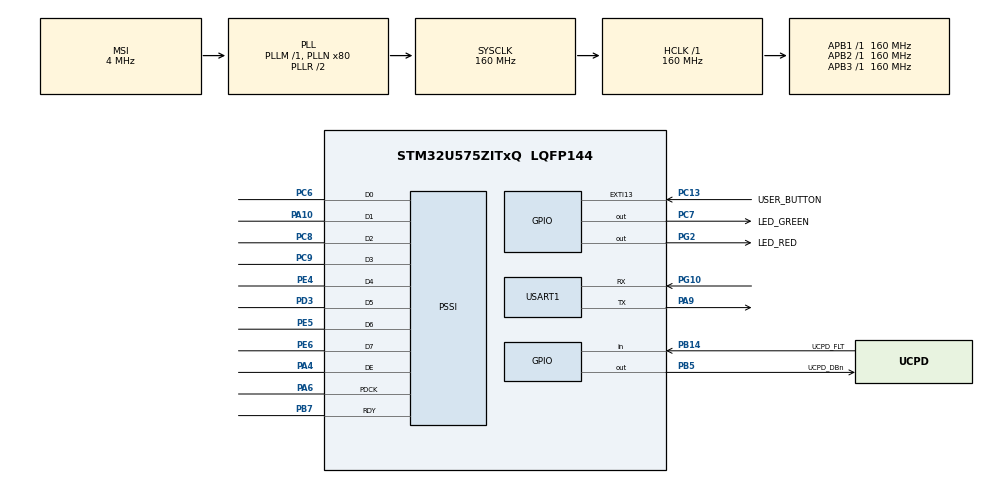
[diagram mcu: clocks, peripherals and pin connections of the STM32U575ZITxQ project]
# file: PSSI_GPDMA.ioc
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CORTEX_M33_NS.userName=CORTEX_M33
GPDMA1.LINKALLOCATEDPORT_GPDMACH12=DMA_LINK_ALLOCATED_PORT1
GPDMA1.LINKALLOCATEDPORT_GPDMACH13=DMA_LINK_ALLOCATED_PORT1
GPDMA1.LINKEDLISTMODE_GPDMACH12=DMA_LINKEDLIST_CIRCULAR
GPDMA1.LINKEDLISTMODE_GPDMACH13=DMA_LINKEDLIST_CIRCULAR
GPDMA1.TRANSFEREVENTMODE_LL_GPDMACH12=DMA_TCEM_EACH_LL_ITEM_TRANSFER
GPDMA1.TRANSFEREVENTMODE_LL_GPDMACH13=DMA_TCEM_EACH_LL_ITEM_TRANSFER
Linkedlist.MDMA_Channel0.GP_SW.0.ADDRESSING2D=ENABLE
Linkedlist.MDMA_Channel0.GP_SW.0.BlkDestAddrOffset=0
Linkedlist.MDMA_Channel0.GP_SW.0.BlkHWRequest=DMA_BREQ_SINGLE_BURST
Linkedlist.MDMA_Channel0.GP_SW.0.BlkSrcAddrOffset=0
Linkedlist.MDMA_Channel0.GP_SW.0.DataHandling=NONE
Linkedlist.MDMA_Channel0.GP_SW.0.DataSize=0
Linkedlist.MDMA_Channel0.GP_SW.0.DestAddrOffset=0
Linkedlist.MDMA_Channel0.GP_SW.0.DestBurstLength=1
Linkedlist.MDMA_Channel0.GP_SW.0.DestDataWidth=DMA_DEST_DATAWIDTH_WORD
Linkedlist.MDMA_Channel0.GP_SW.0.DestInc=DMA_DINC_INCREMENTED
Linkedlist.MDMA_Channel0.GP_SW.0.Direction=DMA_PERIPH_TO_MEMORY
Linkedlist.MDMA_Channel0.GP_SW.0.DstAddress=0
Linkedlist.MDMA_Channel0.GP_SW.0.Instance=MDMA_Channel0
Linkedlist.MDMA_Channel0.GP_SW.0.LL_CIRCULARNODE=PSSIRXNode1
Linkedlist.MDMA_Channel0.GP_SW.0.LL_MASTERDMA=GPDMA2D
Linkedlist.MDMA_Channel0.GP_SW.0.LL_NAME=PSSIRXQueue
Linkedlist.MDMA_Channel0.GP_SW.0.LL_TYPE=CIRCULAR
Linkedlist.MDMA_Channel0.GP_SW.0.NODE_NAME=PSSIRXNode1
Linkedlist.MDMA_Channel0.GP_SW.0.RepeatCount=1
Linkedlist.MDMA_Channel0.GP_SW.0.Requestforcodegen=GPDMA1_REQUEST_DCMI
Linkedlist.MDMA_Channel0.GP_SW.0.SrcAddrOffset=0
Linkedlist.MDMA_Channel0.GP_SW.0.SrcAddress=0
Linkedlist.MDMA_Channel0.GP_SW.0.SrcBurstLength=1
Linkedlist.MDMA_Channel0.GP_SW.0.SrcDataWidth=DMA_SRC_DATAWIDTH_WORD
Linkedlist.MDMA_Channel0.GP_SW.0.SrcInc=DMA_SINC_FIXED
Linkedlist.MDMA_Channel0.GP_SW.0.TransferAllocatedPortSrc=DMA_SRC_ALLOCATED_PORT0
Linkedlist.MDMA_Channel0.GP_SW.0.TransferEventMode=DMA_TCEM_BLOCK_TRANSFER
Linkedlist.MDMA_Channel0.GP_SW.0.TriggerPolarity=DMA_TRIG_POLARITY_MASKED
Linkedlist.MDMA_Channel0.GP_SW.1.ADDRESSING2D=ENABLE
Linkedlist.MDMA_Channel0.GP_SW.1.BlkDestAddrOffset=0
Linkedlist.MDMA_Channel0.GP_SW.1.BlkHWRequest=DMA_BREQ_SINGLE_BURST
Linkedlist.MDMA_Channel0.GP_SW.1.BlkSrcAddrOffset=0
Linkedlist.MDMA_Channel0.GP_SW.1.DataHandling=NONE
Linkedlist.MDMA_Channel0.GP_SW.1.DataSize=0
Linkedlist.MDMA_Channel0.GP_SW.1.DestAddrOffset=0
Linkedlist.MDMA_Channel0.GP_SW.1.DestBurstLength=1
Linkedlist.MDMA_Channel0.GP_SW.1.DestDataWidth=DMA_DEST_DATAWIDTH_WORD
Linkedlist.MDMA_Channel0.GP_SW.1.DestInc=DMA_DINC_INCREMENTED
Linkedlist.MDMA_Channel0.GP_SW.1.Direction=DMA_PERIPH_TO_MEMORY
Linkedlist.MDMA_Channel0.GP_SW.1.DstAddress=0
Linkedlist.MDMA_Channel0.GP_SW.1.Instance=MDMA_Channel0
Linkedlist.MDMA_Channel0.GP_SW.1.LL_CIRCULARNODE=PSSIRXNode1
Linkedlist.MDMA_Channel0.GP_SW.1.LL_MASTERDMA=GPDMA2D
Linkedlist.MDMA_Channel0.GP_SW.1.LL_NAME=PSSIRXQueue
Linkedlist.MDMA_Channel0.GP_SW.1.LL_TYPE=CIRCULAR
Linkedlist.MDMA_Channel0.GP_SW.1.NODE_NAME=PSSIRXNode2
Linkedlist.MDMA_Channel0.GP_SW.1.RepeatCount=1
Linkedlist.MDMA_Channel0.GP_SW.1.Requestforcodegen=GPDMA1_REQUEST_DCMI
Linkedlist.MDMA_Channel0.GP_SW.1.SrcAddrOffset=0
Linkedlist.MDMA_Channel0.GP_SW.1.SrcAddress=0
Linkedlist.MDMA_Channel0.GP_SW.1.SrcBurstLength=1
Linkedlist.MDMA_Channel0.GP_SW.1.SrcDataWidth=DMA_SRC_DATAWIDTH_WORD
Linkedlist.MDMA_Channel0.GP_SW.1.SrcInc=DMA_SINC_FIXED
Linkedlist.MDMA_Channel0.GP_SW.1.TransferAllocatedPortSrc=DMA_SRC_ALLOCATED_PORT0
Linkedlist.MDMA_Channel0.GP_SW.1.TransferEventMode=DMA_TCEM_BLOCK_TRANSFER
Linkedlist.MDMA_Channel0.GP_SW.1.TriggerPolarity=DMA_TRIG_POLARITY_MASKED
Linkedlist.MDMA_Channel0.Request0=GP_SW
Linkedlist.MDMA_Channel0.Request1=GP_SW
Linkedlist.MDMA_Channel0.RequestsNb=2
Linkedlist.MDMA_Channel1.GP_SW.0.ADDRESSING2D=ENABLE
Linkedlist.MDMA_Channel1.GP_SW.0.BlkDestAddrOffset=0
Linkedlist.MDMA_Channel1.GP_SW.0.BlkHWRequest=DMA_BREQ_SINGLE_BURST
Linkedlist.MDMA_Channel1.GP_SW.0.BlkSrcAddrOffset=0
Linkedlist.MDMA_Channel1.GP_SW.0.DataHandling=NONE
Linkedlist.MDMA_Channel1.GP_SW.0.DataSize=0
Linkedlist.MDMA_Channel1.GP_SW.0.DestAddrOffset=0
Linkedlist.MDMA_Channel1.GP_SW.0.DestBurstLength=1
Linkedlist.MDMA_Channel1.GP_SW.0.DestDataWidth=DMA_DEST_DATAWIDTH_WORD
Linkedlist.MDMA_Channel1.GP_SW.0.DestInc=DMA_DINC_INCREMENTED
Linkedlist.MDMA_Channel1.GP_SW.0.Direction=DMA_PERIPH_TO_MEMORY
Linkedlist.MDMA_Channel1.GP_SW.0.DstAddress=0
Linkedlist.MDMA_Channel1.GP_SW.0.Instance=MDMA_Channel1
Linkedlist.MDMA_Channel1.GP_SW.0.LL_CIRCULARNODE=PSSITXNode1
Linkedlist.MDMA_Channel1.GP_SW.0.LL_MASTERDMA=GPDMA2D
Linkedlist.MDMA_Channel1.GP_SW.0.LL_NAME=PSSITXQueue
Linkedlist.MDMA_Channel1.GP_SW.0.LL_TYPE=CIRCULAR
Linkedlist.MDMA_Channel1.GP_SW.0.NODE_NAME=PSSITXNode1
Linkedlist.MDMA_Channel1.GP_SW.0.RepeatCount=1
Linkedlist.MDMA_Channel1.GP_SW.0.Requestforcodegen=GPDMA1_REQUEST_DCMI
Linkedlist.MDMA_Channel1.GP_SW.0.SrcAddrOffset=0
Linkedlist.MDMA_Channel1.GP_SW.0.SrcAddress=0
Linkedlist.MDMA_Channel1.GP_SW.0.SrcBurstLength=1
Linkedlist.MDMA_Channel1.GP_SW.0.SrcDataWidth=DMA_SRC_DATAWIDTH_WORD
Linkedlist.MDMA_Channel1.GP_SW.0.SrcInc=DMA_SINC_FIXED
Linkedlist.MDMA_Channel1.GP_SW.0.TransferAllocatedPortSrc=DMA_SRC_ALLOCATED_PORT0
Linkedlist.MDMA_Channel1.GP_SW.0.TransferEventMode=DMA_TCEM_BLOCK_TRANSFER
Linkedlist.MDMA_Channel1.GP_SW.0.TriggerPolarity=DMA_TRIG_POLARITY_MASKED
Linkedlist.MDMA_Channel1.GP_SW.1.ADDRESSING2D=ENABLE
Linkedlist.MDMA_Channel1.GP_SW.1.BlkDestAddrOffset=0
Linkedlist.MDMA_Channel1.GP_SW.1.BlkHWRequest=DMA_BREQ_SINGLE_BURST
Linkedlist.MDMA_Channel1.GP_SW.1.BlkSrcAddrOffset=0
Linkedlist.MDMA_Channel1.GP_SW.1.DataHandling=NONE
Linkedlist.MDMA_Channel1.GP_SW.1.DataSize=0
Linkedlist.MDMA_Channel1.GP_SW.1.DestAddrOffset=0
Linkedlist.MDMA_Channel1.GP_SW.1.DestBurstLength=1
Linkedlist.MDMA_Channel1.GP_SW.1.DestDataWidth=DMA_DEST_DATAWIDTH_WORD
Linkedlist.MDMA_Channel1.GP_SW.1.DestInc=DMA_DINC_INCREMENTED
Linkedlist.MDMA_Channel1.GP_SW.1.Direction=DMA_PERIPH_TO_MEMORY
Linkedlist.MDMA_Channel1.GP_SW.1.DstAddress=0
Linkedlist.MDMA_Channel1.GP_SW.1.Instance=MDMA_Channel1
Linkedlist.MDMA_Channel1.GP_SW.1.LL_CIRCULARNODE=PSSITXNode1
Linkedlist.MDMA_Channel1.GP_SW.1.LL_MASTERDMA=GPDMA2D
Linkedlist.MDMA_Channel1.GP_SW.1.LL_NAME=PSSITXQueue
Linkedlist.MDMA_Channel1.GP_SW.1.LL_TYPE=CIRCULAR
Linkedlist.MDMA_Channel1.GP_SW.1.NODE_NAME=PSSITXNode2
Linkedlist.MDMA_Channel1.GP_SW.1.RepeatCount=1
Linkedlist.MDMA_Channel1.GP_SW.1.Requestforcodegen=GPDMA1_REQUEST_DCMI
Linkedlist.MDMA_Channel1.GP_SW.1.SrcAddrOffset=0
Linkedlist.MDMA_Channel1.GP_SW.1.SrcAddress=0
Linkedlist.MDMA_Channel1.GP_SW.1.SrcBurstLength=1
Linkedlist.MDMA_Channel1.GP_SW.1.SrcDataWidth=DMA_SRC_DATAWIDTH_WORD
Linkedlist.MDMA_Channel1.GP_SW.1.SrcInc=DMA_SINC_FIXED
Linkedlist.MDMA_Channel1.GP_SW.1.TransferAllocatedPortSrc=DMA_SRC_ALLOCATED_PORT0
Linkedlist.MDMA_Channel1.GP_SW.1.TransferEventMode=DMA_TCEM_BLOCK_TRANSFER
Linkedlist.MDMA_Channel1.GP_SW.1.TriggerPolarity=DMA_TRIG_POLARITY_MASKED
Linkedlist.MDMA_Channel1.Request0=GP_SW
Linkedlist.MDMA_Channel1.Request1=GP_SW
Linkedlist.MDMA_Channel1.RequestsNb=2
Linkedlist.RequestSet0=MDMA_Channel0
Linkedlist.RequestSet1=MDMA_Channel1
Linkedlist.RequestSetsNb=2
Mcu.Family=STM32U5
Mcu.Name=STM32U575ZITxQ
Mcu.Package=LQFP144
NVIC.DCMI_PSSI_IRQn=true\:0\:0\:false\:false\:true\:true\:true\:true
NVIC.GPDMA1_Channel12_IRQn=true\:0\:0\:false\:false\:true\:true\:true\:true
NVIC.GPDMA1_Channel13_IRQn=true\:0\:0\:false\:false\:true\:true\:true\:true
NVIC.ICACHE_IRQn=true\:0\:0\:false\:false\:true\:true\:true\:true
NVIC.PriorityGroup=NVIC_PRIORITYGROUP_3
PA10.Mode=PSSI_8
PA10.Signal=PSSI_D1
PA11.Signal=USB_OTG_FS_DM
PA12.Signal=USB_OTG_FS_DP
PA13\ (JTMS/SWDIO).Mode=Trace_Asynchronous_SW
PA13\ (JTMS/SWDIO).Signal=DEBUG_JTMS-SWDIO
PA14\ (JTCK/SWCLK).Mode=Trace_Asynchronous_SW
PA14\ (JTCK/SWCLK).Signal=DEBUG_JTCK-SWCLK
PA15\ (JTDI).Signal=UCPD1_CC1
PA2.Signal=USART2_TX
PA3.Signal=USART2_RX
PA4.Mode=PSSI_8
PA4.Signal=PSSI_DE
PA6.Mode=PSSI_8
PA6.Signal=PSSI_PDCK
PA9.Mode=Asynchronous
PA9.Signal=USART1_TX
PB14.GPIO_Label=UCPD_FLT
PB14.Signal=GPIO_Input
PB15.Signal=UCPD1_CC2
PB3\ (JTDO/TRACESWO).Mode=Trace_Asynchronous_SW
PB3\ (JTDO/TRACESWO).Signal=DEBUG_JTDO-SWO
PB5.GPIO_Label=UCPD_DBn
PB5.Signal=GPIO_Output
PB7.Mode=PSSI_8
PB7.Signal=PSSI_RDY
PC13.GPIO_Label=USER_BUTTON
PC13.Signal=GPXTI13
PC14-OSC32_IN\ (PC14).Signal=RCC_OSC32_IN
PC15-OSC32_OUT\ (PC15).Signal=RCC_OSC32_OUT
PC2.GPIO_Label=VBUS_SENSE
PC2.Signal=ADC1_IN3
PC6.Mode=PSSI_8
PC6.Signal=PSSI_D0
PC7.GPIO_Label=LED_GREEN
PC7.Signal=GPIO_Output
PC8.Mode=PSSI_8
PC8.Signal=PSSI_D2
PC9.Mode=PSSI_8
PC9.Signal=PSSI_D3
PD3.Mode=PSSI_8
PD3.Signal=PSSI_D5
PE4.Mode=PSSI_8
PE4.Signal=PSSI_D4
PE5.Mode=PSSI_8
PE5.Signal=PSSI_D6
PE6.Mode=PSSI_8
PE6.Signal=PSSI_D7
PG10.Mode=Asynchronous
PG10.Signal=USART1_RX
PG2.GPIO_Label=LED_RED
PG2.Signal=GPIO_Output
PSSI.BusWidth=HAL_PSSI_8LINES
PSSI.ControlSignal=HAL_PSSI_DE_RDY_ALT_ENABLE
PSSI.DataWidth=HAL_PSSI_32BITS
PWR.PowerMode=PWR_SMPS_SUPPLY
ProjectManager.HeapSize=0x200
ProjectManager.StackSize=0x400
ProjectManager.TargetToolchain=STM32CubeIDE
RCC.ADCFreq_Value=16000000
RCC.AHBFreq_Value=160000000
RCC.APB1Freq_Value=160000000
RCC.APB1TimFreq_Value=160000000
RCC.APB2Freq_Value=160000000
RCC.APB2TimFreq_Value=160000000
RCC.APB3Freq_Value=160000000
RCC.CortexFreq_Value=160000000
RCC.DACCLockSelectionVirtual=RCC_DAC1CLKSOURCE_LSI
RCC.EPOD_VALUE=4000000
RCC.HCLKFreq_Value=160000000
RCC.HSE_VALUE=16000000
RCC.HSI48_VALUE=48000000
RCC.HSI_VALUE=16000000
RCC.LSE_VALUE=32768
RCC.LSIDIV_VALUE=32000
RCC.MSI_VALUE=4000000
RCC.PLL2FRACN=0
RCC.PLL3FRACN=0
RCC.PLLFRACN=0
RCC.PLLN=80
RCC.SYSCLKFreq_VALUE=160000000
RCC.SYSCLKSource=RCC_SYSCLKSOURCE_PLLCLK
RCC.USBFreq_Value=48000000
RCC.VCOOutputFreq_Value=320000000
USART1.VirtualMode-Asynchronous=VM_ASYNC
VP_GPDMA1_VS_GPDMACH12.Mode=LINKEDLIST_GPDMACH12
VP_GPDMA1_VS_GPDMACH13.Mode=LINKEDLIST_GPDMACH13
VP_ICACHE_VS_ICACHE.Mode=DirectMappedCache
VP_LPBAMQUEUE_VS_QUEUE.Mode=QUEUEMODE
VP_LPBAM_VS_SIG1.Mode=SmartRun
VP_LPBAM_VS_SIG4.Mode=LPDMA1
VP_PWR_VS_DBSignals.Mode=DisableDeadBatterySignals
VP_PWR_VS_LPOM.Mode=PowerOptimisation
VP_PWR_VS_SECSignals.Mode=Security/Privilege
board=NUCLEO-U575ZI-Q

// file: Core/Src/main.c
/* USER CODE BEGIN Header */
/**
  ******************************************************************************
  * @file           : main.c
  * @brief          : Main program body
  ******************************************************************************
  * @attention
  *
  * Copyright (c) 2023 STMicroelectronics.
  * All rights reserved.
  *
  * This software is licensed under terms that can be found in the LICENSE file
  * in the root directory of this software component.
  * If no LICENSE file comes with this software, it is provided AS-IS.
  *
  ******************************************************************************
  */
/* USER CODE END Header */
#include "main.h"

/* USER CODE BEGIN Includes */
#include "stdio.h"
#include <stdlib.h>
#include "string.h"
/* USER CODE END Includes */

/* USER CODE BEGIN PTD */
TIM_HandleTypeDef    htim;
TIM_OC_InitTypeDef   sConfig; /* Timer Output Compare Configuration Structure declaration */
//#define MASTER_BOARD
#define  TIMx                TIM1
#define  PERIOD_VALUE       (uint32_t)(1000 - 1)              /* Period Value             */
#define  PULSE1_VALUE       (uint32_t)(PERIOD_VALUE/2)        /* Capture Compare 1 Value  */

/* USER CODE END PTD */

/* USER CODE BEGIN PM */
uint32_t uhPrescalerValue = 0;
uint32_t Request_received = 0 ;
uint32_t data_cmp = 0 ;
uint32_t i;
uint32_t PSSI_HAL_PSSI_TransmitComplete_count = 0;
uint32_t PSSI_HAL_PSSI_ReceiveComplete_count = 0;
uint32_t PSSI_HAL_PSSI_ErrorCallback_count = 0;

#ifndef MASTER_BOARD
//ALIGN_32BYTES (char     pData8_S_TRSMT[64] ="Hello from Slave");  /* Data to transmit from Slave */
#define ALIGN_32BYTES __attribute__((aligned(32)))
char pData8_S_TRSMT[64] ALIGN_32BYTES = "Hello from Slave";
ALIGN_32BYTES char pData8_S_RCV[64];
#else
ALIGN_32BYTES (char     pData8_M_RCV[64]);
ALIGN_32BYTES (char     pData8_M_TRSMT[64]); /* Data to transmit from Master */
#endif
/* USER CODE END PM */

DMA_HandleTypeDef handle_GPDMA1_Channel13;
DMA_HandleTypeDef handle_GPDMA1_Channel12;

PSSI_HandleTypeDef hpssi;

UART_HandleTypeDef huart1;

/* USER CODE BEGIN PV */
extern DMA_QListTypeDef  PSSITXQueue;
extern DMA_QListTypeDef  PSSIRXQueue;
/* USER CODE END PV */

void SystemClock_Config(void);
static void SystemPower_Config(void);
static void MX_GPIO_Init(void);
static void MX_GPDMA1_Init(void);
static void MX_ICACHE_Init(void);
static void MX_PSSI_Init(void);
static void MX_USART1_UART_Init(void);
/* USER CODE BEGIN PFP */
#ifdef MASTER_BOARD
static void Timer_Config(TIM_HandleTypeDef *htim);
static void CLK_On(void);
static void CLK_Off(void);
static uint32_t Fetch_Slave_Request(char Received_Buffer[64]);
#endif /*MASTER_BOARD*/
#define PUTCHAR_PROTOTYPE int __io_putchar(int ch)
/* USER CODE END PFP */

/* USER CODE BEGIN 0 */
int _write(int file, char *ptr, int len) {
  HAL_UART_Transmit(&huart1, (uint8_t*) ptr, len, HAL_MAX_DELAY);
  return len;
}
/* USER CODE END 0 */

int main(void)
{

  /* MCU Configuration--------------------------------------------------------*/

  /* Reset of all peripherals, Initializes the Flash interface and the Systick. */
  HAL_Init();

  /* Configure the system clock */
  SystemClock_Config();

  /* Configure the System Power */
  SystemPower_Config();

  /* USER CODE BEGIN SysInit */
  MX_PSSIRXQueue_Config();
  MX_PSSITXQueue_Config();
  /* USER CODE END SysInit */

  /* Initialize all configured peripherals */
  MX_GPIO_Init();
  MX_GPDMA1_Init();
  MX_ICACHE_Init();
  MX_PSSI_Init();
  MX_USART1_UART_Init();
  /* USER CODE BEGIN 2 */
  HAL_DMAEx_List_LinkQ(&handle_GPDMA1_Channel13, &PSSITXQueue);
  __HAL_LINKDMA(&hpssi, hdmatx, handle_GPDMA1_Channel13);
  HAL_DMAEx_List_LinkQ(&handle_GPDMA1_Channel12, &PSSIRXQueue);
  __HAL_LINKDMA(&hpssi, hdmarx, handle_GPDMA1_Channel12);

#ifdef MASTER_BOARD
  printf("Hello this is the master board \n\r");
   HAL_Delay(500);
  /* Configure Tim to generate the clock for PSSI slave */
  Timer_Config(&htim) ;

  while(1)
  {
    CLK_On();

    while(Request_received != 1)
    {

      if(HAL_PSSI_Receive_DMA(&hpssi, (uint32_t*)pData8_M_RCV , sizeof(pData8_M_RCV)/4)!= HAL_OK)
      {
        Error_Handler();
      }

      while(PSSI_HAL_PSSI_ReceiveComplete_count !=1)
      {
        /* wait until receiving data is complete */
      }

      if(Fetch_Slave_Request(pData8_M_RCV) == 1)
      {
        Request_received = 1;
      }

      PSSI_HAL_PSSI_ReceiveComplete_count = 0 ;
    }

    /* Start transmitting the received & modified data */
    if(HAL_PSSI_Transmit_DMA(&hpssi, (uint32_t*)pData8_M_TRSMT, sizeof(pData8_M_TRSMT)/4)!= HAL_OK)
    {
      Error_Handler();
    }

    HAL_Delay(2);

    while(PSSI_HAL_PSSI_TransmitComplete_count != 1)
    {
      /* wait until transmit data is complete */
    }

    printf("Transmission completed\n\r");
    HAL_Delay(200);

    HAL_Delay(20);

    /* Transmit done */
    Request_received = 0 ;

    PSSI_HAL_PSSI_TransmitComplete_count = 0 ;

    CLK_Off();

    /*Wait 1s before the next loop*/
    HAL_Delay(1000);

  }
#else
  /*PSSI slave Part*/
  printf("Hello this is the slave board \n\r");
    HAL_Delay(500);
  /* Start transmitting the data */
  if(HAL_PSSI_Transmit_DMA(&hpssi, (uint32_t*)(pData8_S_TRSMT), sizeof(pData8_S_TRSMT))!= HAL_OK)
  {
    Error_Handler();
  }

  while(PSSI_HAL_PSSI_TransmitComplete_count != 1)
  {
    /* wait until transmit data is complete */
  }

  HAL_Delay(2);
  /* Start receiving the data */
  if(HAL_PSSI_Receive_DMA(&hpssi, (uint32_t*)(pData8_S_RCV), sizeof(pData8_S_RCV)/4)!= HAL_OK)
  {
    Error_Handler();
  }

  while(PSSI_HAL_PSSI_ReceiveComplete_count != 1)
  {
    /* wait until receiving data is complete */
  }

  /*********************************************************************************************/

  /* Check first that the transmitted data is received */
  for(i = 0; i < strlen(pData8_S_TRSMT) ;i++)
  {
    if(pData8_S_TRSMT[i] != pData8_S_RCV[i])
    {
      data_cmp++;
	  break;
    }
  }

  /*if OK , check then, that the Master has modified the transmitted data*/
  if((data_cmp == 0) && (strstr(pData8_S_RCV," Master") != 0))
  { /* Infinite loop */
    while (1)
    {
    	printf("data has been modified\n\r");
    	printf("%s\n\r",pData8_S_RCV);
    	HAL_Delay(1000);
    }
  }
  else /*KO*/
  {
    Error_Handler();
  }

#endif /*MASTER_BOARD*/
  /* USER CODE END 2 */

  /* Infinite loop */
  while (1)
  {

  }
}

void SystemClock_Config(void)
{
  RCC_OscInitTypeDef RCC_OscInitStruct = {0};
  RCC_ClkInitTypeDef RCC_ClkInitStruct = {0};

  /** Configure the main internal regulator output voltage
  */
  if (HAL_PWREx_ControlVoltageScaling(PWR_REGULATOR_VOLTAGE_SCALE1) != HAL_OK)
  {
    Error_Handler();
  }

  /** Initializes the CPU, AHB and APB buses clocks
  */
  RCC_OscInitStruct.OscillatorType = RCC_OSCILLATORTYPE_MSI;
  RCC_OscInitStruct.MSIState = RCC_MSI_ON;
  RCC_OscInitStruct.MSICalibrationValue = RCC_MSICALIBRATION_DEFAULT;
  RCC_OscInitStruct.MSIClockRange = RCC_MSIRANGE_4;
  RCC_OscInitStruct.PLL.PLLState = RCC_PLL_ON;
  RCC_OscInitStruct.PLL.PLLSource = RCC_PLLSOURCE_MSI;
  RCC_OscInitStruct.PLL.PLLMBOOST = RCC_PLLMBOOST_DIV1;
  RCC_OscInitStruct.PLL.PLLM = 1;
  RCC_OscInitStruct.PLL.PLLN = 80;
  RCC_OscInitStruct.PLL.PLLP = 2;
  RCC_OscInitStruct.PLL.PLLQ = 2;
  RCC_OscInitStruct.PLL.PLLR = 2;
  RCC_OscInitStruct.PLL.PLLRGE = RCC_PLLVCIRANGE_0;
  RCC_OscInitStruct.PLL.PLLFRACN = 0;
  if (HAL_RCC_OscConfig(&RCC_OscInitStruct) != HAL_OK)
  {
    Error_Handler();
  }

  /** Initializes the CPU, AHB and APB buses clocks
  */
  RCC_ClkInitStruct.ClockType = RCC_CLOCKTYPE_HCLK|RCC_CLOCKTYPE_SYSCLK
                              |RCC_CLOCKTYPE_PCLK1|RCC_CLOCKTYPE_PCLK2
                              |RCC_CLOCKTYPE_PCLK3;
  RCC_ClkInitStruct.SYSCLKSource = RCC_SYSCLKSOURCE_PLLCLK;
  RCC_ClkInitStruct.AHBCLKDivider = RCC_SYSCLK_DIV1;
  RCC_ClkInitStruct.APB1CLKDivider = RCC_HCLK_DIV1;
  RCC_ClkInitStruct.APB2CLKDivider = RCC_HCLK_DIV1;
  RCC_ClkInitStruct.APB3CLKDivider = RCC_HCLK_DIV1;

  if (HAL_RCC_ClockConfig(&RCC_ClkInitStruct, FLASH_LATENCY_4) != HAL_OK)
  {
    Error_Handler();
  }
}

/**
  * @brief Power Configuration
  * @retval None
  */
static void SystemPower_Config(void)
{
  HAL_PWREx_EnableVddIO2();

  /*
   * Disable the internal Pull-Up in Dead Battery pins of UCPD peripheral
   */
  HAL_PWREx_DisableUCPDDeadBattery();

  /*
   * Switch to SMPS regulator instead of LDO
   */
  if (HAL_PWREx_ConfigSupply(PWR_SMPS_SUPPLY) != HAL_OK)
  {
    Error_Handler();
  }
}

static void MX_GPDMA1_Init(void)
{

  /* Peripheral clock enable */
  __HAL_RCC_GPDMA1_CLK_ENABLE();

  /* GPDMA1 interrupt Init */
    HAL_NVIC_SetPriority(GPDMA1_Channel12_IRQn, 0, 0);
    HAL_NVIC_EnableIRQ(GPDMA1_Channel12_IRQn);
    HAL_NVIC_SetPriority(GPDMA1_Channel13_IRQn, 0, 0);
    HAL_NVIC_EnableIRQ(GPDMA1_Channel13_IRQn);

  handle_GPDMA1_Channel13.Instance = GPDMA1_Channel13;
  handle_GPDMA1_Channel13.InitLinkedList.Priority = DMA_LOW_PRIORITY_LOW_WEIGHT;
  handle_GPDMA1_Channel13.InitLinkedList.LinkStepMode = DMA_LSM_FULL_EXECUTION;
  handle_GPDMA1_Channel13.InitLinkedList.LinkAllocatedPort = DMA_LINK_ALLOCATED_PORT1;
  handle_GPDMA1_Channel13.InitLinkedList.TransferEventMode = DMA_TCEM_EACH_LL_ITEM_TRANSFER;
  handle_GPDMA1_Channel13.InitLinkedList.LinkedListMode = DMA_LINKEDLIST_CIRCULAR;
  if (HAL_DMAEx_List_Init(&handle_GPDMA1_Channel13) != HAL_OK)
  {
    Error_Handler();
  }
  if (HAL_DMA_ConfigChannelAttributes(&handle_GPDMA1_Channel13, DMA_CHANNEL_NPRIV) != HAL_OK)
  {
    Error_Handler();
  }
  handle_GPDMA1_Channel12.Instance = GPDMA1_Channel12;
  handle_GPDMA1_Channel12.InitLinkedList.Priority = DMA_LOW_PRIORITY_LOW_WEIGHT;
  handle_GPDMA1_Channel12.InitLinkedList.LinkStepMode = DMA_LSM_FULL_EXECUTION;
  handle_GPDMA1_Channel12.InitLinkedList.LinkAllocatedPort = DMA_LINK_ALLOCATED_PORT1;
  handle_GPDMA1_Channel12.InitLinkedList.TransferEventMode = DMA_TCEM_EACH_LL_ITEM_TRANSFER;
  handle_GPDMA1_Channel12.InitLinkedList.LinkedListMode = DMA_LINKEDLIST_CIRCULAR;
  if (HAL_DMAEx_List_Init(&handle_GPDMA1_Channel12) != HAL_OK)
  {
    Error_Handler();
  }
  if (HAL_DMA_ConfigChannelAttributes(&handle_GPDMA1_Channel12, DMA_CHANNEL_NPRIV) != HAL_OK)
  {
    Error_Handler();
  }

}

static void MX_ICACHE_Init(void)
{

  /** Enable instruction cache in 1-way (direct mapped cache)
  */
  if (HAL_ICACHE_ConfigAssociativityMode(ICACHE_1WAY) != HAL_OK)
  {
    Error_Handler();
  }
  if (HAL_ICACHE_Enable() != HAL_OK)
  {
    Error_Handler();
  }

}

static void MX_PSSI_Init(void)
{

  hpssi.Instance = PSSI;
  hpssi.Init.DataWidth = HAL_PSSI_32BITS;
  hpssi.Init.BusWidth = HAL_PSSI_8LINES;
  hpssi.Init.ControlSignal = HAL_PSSI_DE_RDY_ALT_ENABLE;
  hpssi.Init.ClockPolarity = HAL_PSSI_FALLING_EDGE;
  hpssi.Init.DataEnablePolarity = HAL_PSSI_DEPOL_ACTIVE_LOW;
  hpssi.Init.ReadyPolarity = HAL_PSSI_RDYPOL_ACTIVE_LOW;
  if (HAL_PSSI_Init(&hpssi) != HAL_OK)
  {
    Error_Handler();
  }

}

static void MX_USART1_UART_Init(void)
{

  huart1.Instance = USART1;
  huart1.Init.BaudRate = 115200;
  huart1.Init.WordLength = UART_WORDLENGTH_8B;
  huart1.Init.StopBits = UART_STOPBITS_1;
  huart1.Init.Parity = UART_PARITY_NONE;
  huart1.Init.Mode = UART_MODE_TX_RX;
  huart1.Init.HwFlowCtl = UART_HWCONTROL_NONE;
  huart1.Init.OverSampling = UART_OVERSAMPLING_16;
  huart1.Init.OneBitSampling = UART_ONE_BIT_SAMPLE_DISABLE;
  huart1.Init.ClockPrescaler = UART_PRESCALER_DIV1;
  huart1.AdvancedInit.AdvFeatureInit = UART_ADVFEATURE_NO_INIT;
  if (HAL_UART_Init(&huart1) != HAL_OK)
  {
    Error_Handler();
  }
  if (HAL_UARTEx_SetTxFifoThreshold(&huart1, UART_TXFIFO_THRESHOLD_1_8) != HAL_OK)
  {
    Error_Handler();
  }
  if (HAL_UARTEx_SetRxFifoThreshold(&huart1, UART_RXFIFO_THRESHOLD_1_8) != HAL_OK)
  {
    Error_Handler();
  }
  if (HAL_UARTEx_DisableFifoMode(&huart1) != HAL_OK)
  {
    Error_Handler();
  }

}

static void MX_GPIO_Init(void)
{
  GPIO_InitTypeDef GPIO_InitStruct = {0};

  /* GPIO Ports Clock Enable */
  __HAL_RCC_GPIOE_CLK_ENABLE();
  __HAL_RCC_GPIOC_CLK_ENABLE();
  __HAL_RCC_GPIOA_CLK_ENABLE();
  __HAL_RCC_GPIOB_CLK_ENABLE();
  __HAL_RCC_GPIOG_CLK_ENABLE();
  __HAL_RCC_GPIOD_CLK_ENABLE();

  /*Configure GPIO pin Output Level */
  HAL_GPIO_WritePin(LED_RED_GPIO_Port, LED_RED_Pin, GPIO_PIN_RESET);

  /*Configure GPIO pin Output Level */
  HAL_GPIO_WritePin(LED_GREEN_GPIO_Port, LED_GREEN_Pin, GPIO_PIN_RESET);

  /*Configure GPIO pin Output Level */
  HAL_GPIO_WritePin(UCPD_DBn_GPIO_Port, UCPD_DBn_Pin, GPIO_PIN_RESET);

  /*Configure GPIO pin : USER_BUTTON_Pin */
  GPIO_InitStruct.Pin = USER_BUTTON_Pin;
  GPIO_InitStruct.Mode = GPIO_MODE_IT_RISING;
  GPIO_InitStruct.Pull = GPIO_NOPULL;
  HAL_GPIO_Init(USER_BUTTON_GPIO_Port, &GPIO_InitStruct);

  /*Configure GPIO pin : VBUS_SENSE_Pin */
  GPIO_InitStruct.Pin = VBUS_SENSE_Pin;
  GPIO_InitStruct.Mode = GPIO_MODE_ANALOG;
  GPIO_InitStruct.Pull = GPIO_NOPULL;
  HAL_GPIO_Init(VBUS_SENSE_GPIO_Port, &GPIO_InitStruct);

  /*Configure GPIO pins : PA2 PA3 */
  GPIO_InitStruct.Pin = GPIO_PIN_2|GPIO_PIN_3;
  GPIO_InitStruct.Mode = GPIO_MODE_AF_PP;
  GPIO_InitStruct.Pull = GPIO_NOPULL;
  GPIO_InitStruct.Speed = GPIO_SPEED_FREQ_LOW;
  GPIO_InitStruct.Alternate = GPIO_AF7_USART2;
  HAL_GPIO_Init(GPIOA, &GPIO_InitStruct);

  /*Configure GPIO pin : UCPD_FLT_Pin */
  GPIO_InitStruct.Pin = UCPD_FLT_Pin;
  GPIO_InitStruct.Mode = GPIO_MODE_INPUT;
  GPIO_InitStruct.Pull = GPIO_NOPULL;
  HAL_GPIO_Init(UCPD_FLT_GPIO_Port, &GPIO_InitStruct);

  /*Configure GPIO pin : PB15 */
  GPIO_InitStruct.Pin = GPIO_PIN_15;
  GPIO_InitStruct.Mode = GPIO_MODE_ANALOG;
  GPIO_InitStruct.Pull = GPIO_NOPULL;
  HAL_GPIO_Init(GPIOB, &GPIO_InitStruct);

  /*Configure GPIO pin : LED_RED_Pin */
  GPIO_InitStruct.Pin = LED_RED_Pin;
  GPIO_InitStruct.Mode = GPIO_MODE_OUTPUT_PP;
  GPIO_InitStruct.Pull = GPIO_NOPULL;
  GPIO_InitStruct.Speed = GPIO_SPEED_FREQ_LOW;
  HAL_GPIO_Init(LED_RED_GPIO_Port, &GPIO_InitStruct);

  /*Configure GPIO pin : LED_GREEN_Pin */
  GPIO_InitStruct.Pin = LED_GREEN_Pin;
  GPIO_InitStruct.Mode = GPIO_MODE_OUTPUT_PP;
  GPIO_InitStruct.Pull = GPIO_NOPULL;
  GPIO_InitStruct.Speed = GPIO_SPEED_FREQ_LOW;
  HAL_GPIO_Init(LED_GREEN_GPIO_Port, &GPIO_InitStruct);

  /*Configure GPIO pins : PA11 PA12 */
  GPIO_InitStruct.Pin = GPIO_PIN_11|GPIO_PIN_12;
  GPIO_InitStruct.Mode = GPIO_MODE_AF_PP;
  GPIO_InitStruct.Pull = GPIO_NOPULL;
  GPIO_InitStruct.Speed = GPIO_SPEED_FREQ_LOW;
  GPIO_InitStruct.Alternate = GPIO_AF10_USB;
  HAL_GPIO_Init(GPIOA, &GPIO_InitStruct);

  /*Configure GPIO pin : PA15 */
  GPIO_InitStruct.Pin = GPIO_PIN_15;
  GPIO_InitStruct.Mode = GPIO_MODE_ANALOG;
  GPIO_InitStruct.Pull = GPIO_NOPULL;
  HAL_GPIO_Init(GPIOA, &GPIO_InitStruct);

  /*Configure GPIO pin : UCPD_DBn_Pin */
  GPIO_InitStruct.Pin = UCPD_DBn_Pin;
  GPIO_InitStruct.Mode = GPIO_MODE_OUTPUT_PP;
  GPIO_InitStruct.Pull = GPIO_NOPULL;
  GPIO_InitStruct.Speed = GPIO_SPEED_FREQ_LOW;
  HAL_GPIO_Init(UCPD_DBn_GPIO_Port, &GPIO_InitStruct);

}

/* USER CODE BEGIN 4 */

#ifdef MASTER_BOARD
void Timer_Config(TIM_HandleTypeDef *htim)
{
    /* Compute the prescaler value to have TIM1 counter clock equal to 20000 Hz */
  uhPrescalerValue = (uint32_t)(250000000 / (20000000)) - 1;

  htim->Instance = TIMx;

  htim->Init.Prescaler         = uhPrescalerValue;
  htim->Init.Period            = PERIOD_VALUE;
  htim->Init.ClockDivision     = 0;
  htim->Init.CounterMode       = TIM_COUNTERMODE_UP;
  htim->Init.RepetitionCounter = 0;

  if (HAL_TIM_PWM_Init(htim) != HAL_OK)
  {
    /* Initialization Error */
    Error_Handler();
  }

  /*##-2- Configure the PWM channel #########################################*/
  /* configuration for the channel */
  sConfig.OCMode       = TIM_OCMODE_PWM1;
  sConfig.OCPolarity   = TIM_OCPOLARITY_HIGH;
  sConfig.OCFastMode   = TIM_OCFAST_DISABLE;
  sConfig.OCNPolarity  = TIM_OCNPOLARITY_HIGH;
  sConfig.OCNIdleState = TIM_OCNIDLESTATE_RESET;

  sConfig.OCIdleState  = TIM_OCIDLESTATE_RESET;

  /* Set the pulse value for channel 1 */
  sConfig.Pulse = PULSE1_VALUE;

  if (HAL_TIM_PWM_ConfigChannel(htim, &sConfig, TIM_CHANNEL_1) != HAL_OK)
  {
    /* Configuration Error */
    Error_Handler();
  }

}

static void CLK_On(void)
{
  /*Start PWM signals generation #######################################*/
  /* Start channel 1 */
  if (HAL_TIM_PWM_Start(&htim, TIM_CHANNEL_1) != HAL_OK)
  {
    /* PWM Generation Error */
    Error_Handler();
  }
}

static void CLK_Off(void)
{
  if (HAL_TIM_PWM_Stop(&htim, TIM_CHANNEL_1) != HAL_OK)
  {
    /* PWM Generation Error */
    Error_Handler();
  }
}

uint32_t Fetch_Slave_Request(char Received_Buffer[64])
{
  uint32_t j;
  char REPLY[23] = ": received, from Master" ;

  if(strstr(Received_Buffer,"Slave") != 0)
  {
    for(i=0 ; i < strlen(Received_Buffer) ; i++)
    {
      pData8_M_TRSMT[i] = Received_Buffer[i];
    }

    for(j=0;j<strlen(REPLY);j++)
    {
      pData8_M_TRSMT[i] = REPLY[j];
      i++;
    }
    return 1;
  }
  else
  {
    return 0;
  }
}

#endif /* MASTER_BOARD */

void HAL_PSSI_TxCpltCallback(PSSI_HandleTypeDef *hpssi)
{
  PSSI_HAL_PSSI_TransmitComplete_count++;
}
/**
  * @brief PSSI receive complete callback
  * @par hppsi: PSSI HAL handle
  * @retval None
  */
 void HAL_PSSI_RxCpltCallback(PSSI_HandleTypeDef *hpssi)
{
  PSSI_HAL_PSSI_ReceiveComplete_count++;
}

/**
  * @brief PSSI transfer error callback
  * @par hppsi: PSSI HAL handle
  * @retval None
  */
void HAL_PSSI_ErrorCallback(PSSI_HandleTypeDef *hpssi)
{
  PSSI_HAL_PSSI_ErrorCallback_count++;
}
/* USER CODE END 4 */

void Error_Handler(void)
{
  __disable_irq();
  while (1)
  {
  }
}
